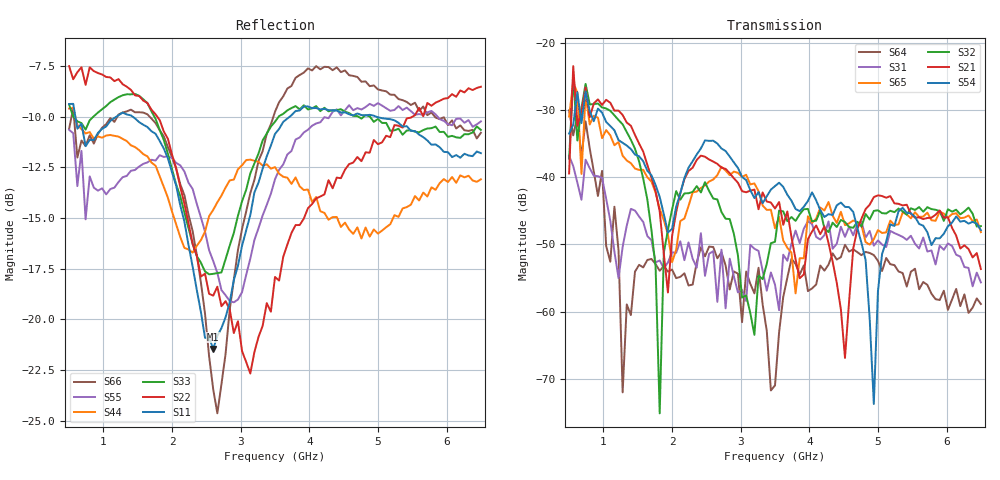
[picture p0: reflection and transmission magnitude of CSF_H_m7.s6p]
!Keysight Technologies,M9804A,MY58100912,A.14.10.03
!Date: Thursday, April 27, 2023 10:28:33
!Correction: S11(C  6-Port  )
!S12(C  6-Port  )
!S13(C  6-Port  )
!S14(C  6-Port  )
!S15(C  6-Port  )
!S16(C  6-Port  )
!S21(C  6-Port  )
!S22(C  6-Port  )
!S23(C  6-Port  )
!S24(C  6-Port  )
!S25(C  6-Port  )
!S26(C  6-Port  )
!S31(C  6-Port  )
!S32(C  6-Port  )
!S33(C  6-Port  )
!S34(C  6-Port  )
!S35(C  6-Port  )
!S36(C  6-Port  )
!S41(C  6-Port  )
!S42(C  6-Port  )
!S43(C  6-Port  )
!S44(C  6-Port  )
!S45(C  6-Port  )
!S46(C  6-Port  )
!S51(C  6-Port  )
!S52(C  6-Port  )
!S53(C  6-Port  )
!S54(C  6-Port  )
!S55(C  6-Port  )
!S56(C  6-Port  )
!S61(C  6-Port  )
!S62(C  6-Port  )
!S63(C  6-Port  )
!S64(C  6-Port  )
!S65(C  6-Port  )
!S66(C  6-Port  )
!S6P File: Measurement: :
# Hz S  RI  R 50
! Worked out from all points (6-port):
!   101 points, 500 MHz to 6.5 GHz, reference 50 ohm
!   strongest paths, dB at 500 MHz, 2 GHz, 3.5 GHz, 5 GHz, 6.5 GHz:
!     S54: -33.5, -47.7, -41.3, -57.0, -47.9
!     S21: -39.5, -48.8, -44.7, -42.7, -53.7
!     S32: -37.3, -44.8, -49.6, -44.9, -47.3
!     S65: -31.0, -52.6, -47.6, -47.9, -48.2
!     S31: -36.8, -51.2, -56.0, -49.4, -55.6
!     S64: -30.1, -53.7, -71.0, -52.4, -58.9
!   lowest |S11| = -21.5 dB at 2.6 GHz (marker M1), VSWR 1.18, Z = 42.5 + j2.2 ohm
!   |S11| at or under -10 dB: 591.1 MHz to 1.188 GHz (596.6 MHz wide, 67.1 % of centre); 1.427 GHz to 3.714 GHz (2.287 GHz wide, 89 % of centre); 4.978 GHz to end of sweep
